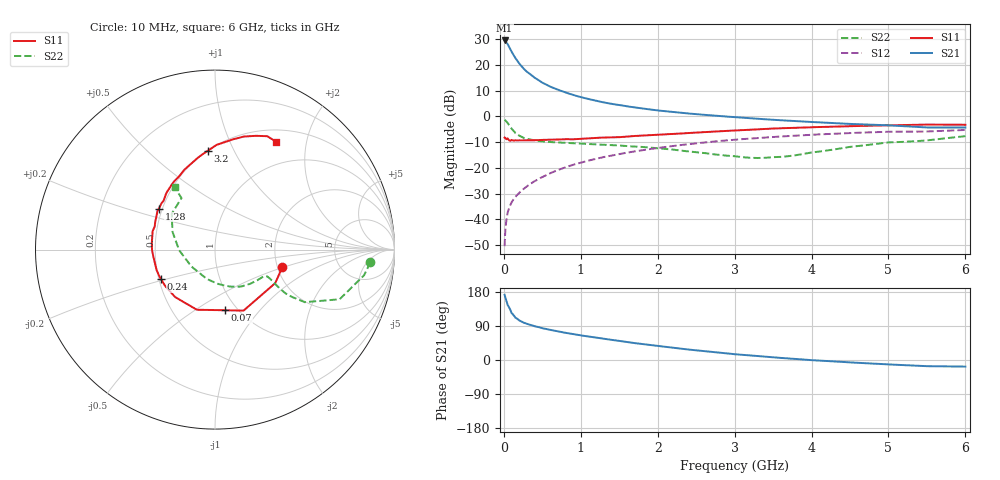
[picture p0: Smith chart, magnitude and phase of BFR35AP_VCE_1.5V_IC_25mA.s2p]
! Infineon Technologies  Discrete & RF Semiconductors
! BFR35AP
! VCE =  1.5 V,  IC =  25 mA
! Common Emitter S-Parameters:  Nov 2015
# GHz  S  MA  R  50
!  f  S11  S21  S12  S22
! GHz  MAG  ANG  MAG  ANG  MAG  ANG  MAG  ANG
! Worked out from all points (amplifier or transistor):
!   210 points, 10 MHz to 6 GHz, reference 50 ohm
!   highest |S21| = 29.6 dB at 10 MHz (marker M1)
!   |S21| within 3 dB of that: start of sweep to 76.34 MHz
!   unconditionally stable (mu >= 1): start of sweep to 12.31 MHz; 175.5 MHz to end of sweep
!   at 185 MHz: K = 1.02, MAG = 24.8 dB, |S12| = -30.1 dB
!   at 1.52 GHz: K = 1.31, MAG = 6.1 dB, |S12| = -14.5 dB
!   at 6 GHz: K = 1.08, MAG = -1.3 dB, |S12| = -5.2 dB
!   S11 on the Smith chart (normalised r, x): 10 MHz: 2.12, -0.49; 70 MHz: 0.88, -0.67; 240 MHz: 0.51, -0.19; 1.28 GHz: 0.48, +0.26; 3.2 GHz: 0.50, +0.79; 6 GHz: 0.66, +1.51
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0.01  0.3874 -14.8  30.14 171.9  0.003 84.8  0.8686 -4.7
0.02  0.3841 -29.1  29.49 164.3  0.0062 75.9  0.8427 -9.8
0.05  0.3753 -64.9  25.52 145.0  0.0136 69.9  0.7477 -21.7
0.07  0.3424 -80.7  22.29 138.3  0.0167 66.6  0.6784 -24.7
0.1  0.35 -106.8  18.26 124.1  0.0214 63.5  0.5788 -30.4
0.15  0.3453 -130.0  13.68 111.8  0.0272 62.6  0.4785 -32.0
0.2  0.3437 -143.8  10.75 104.5  0.0328 64.6  0.4235 -31.1
0.24  0.3432 -151.5  9.121 100.4  0.0371 65.5  0.3944 -30.1
0.3  0.3447 -160.8  7.407 95.1  0.0437 66.9  0.3667 -28.8
0.4  0.3451 -172.1  5.683 89.2  0.0551 68.5  0.3424 -27.6
0.5  0.3509 -179.7  4.55 84.0  0.0663 69.8  0.3275 -27.2
0.6  0.3541 174.0  3.827 79.6  0.0786 70.0  0.3186 -27.7
0.7  0.3566 168.5  3.327 75.5  0.0902 70.0  0.3124 -28.8
0.8  0.3624 163.6  2.932 71.8  0.1025 69.2  0.306 -30.0
1.02  0.3699 153.4  2.338 64.4  0.1286 67.6  0.2959 -33.8
1.28  0.3874 143.8  1.905 56.5  0.1602 65.0  0.2827 -39.2
2.02  0.443 120.9  1.302 36.7  0.2463 55.9  0.2389 -59.8
3.1  0.5424 96.0  0.948 13.8  0.3627 40.1  0.1617 -113.5
3.2  0.5518 94.2  0.926 12.1  0.3717 38.6  0.1573 -121.2
4.1  0.6237 80.5  0.768 -1.5  0.4487 25.2  0.2076 175.4
5.1  0.6778 69.2  0.66 -12.6  0.5052 10.6  0.3166 136.7
6  0.6903 60.4  0.61 -17.4  0.547 0.4  0.4138 123.0
